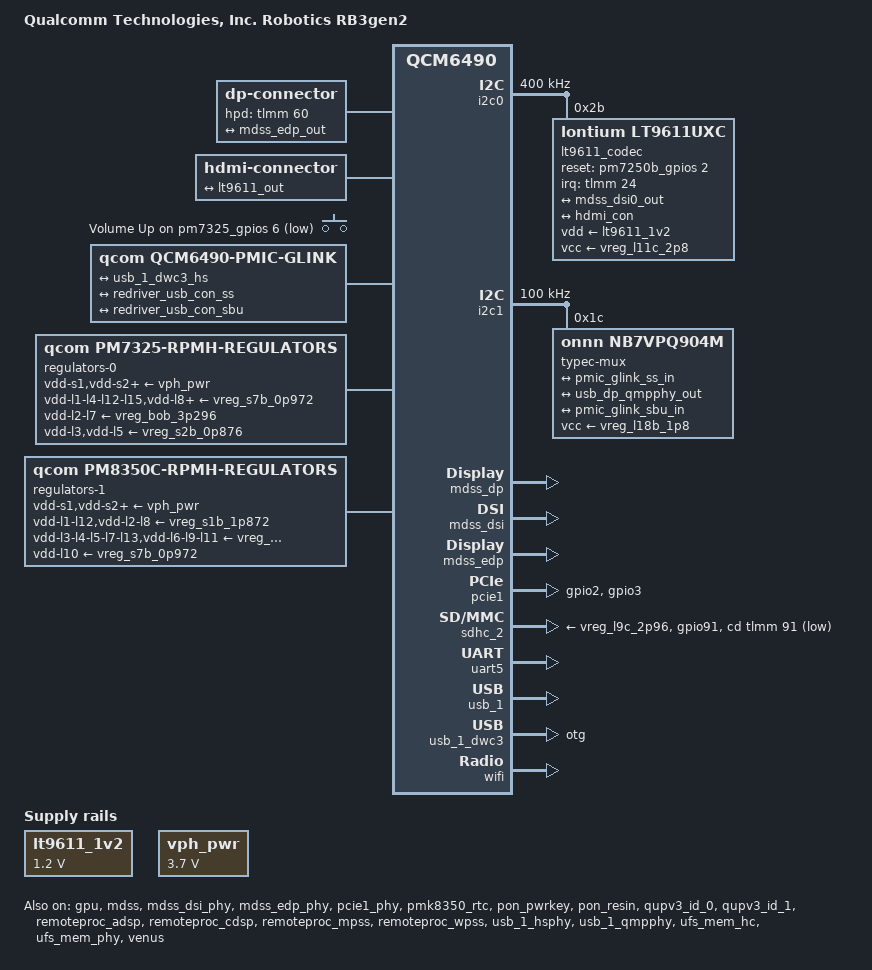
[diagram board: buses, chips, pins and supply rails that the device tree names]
// SPDX-License-Identifier: BSD-3-Clause
/*
 * Copyright (c) 2023 Qualcomm Innovation Center, Inc. All rights reserved.
 */

/dts-v1/;

/* PM7250B is configured to use SID8/9 */
#define PM7250B_SID 8
#define PM7250B_SID1 9

#include <dt-bindings/pinctrl/qcom,pmic-gpio.h>
#include <dt-bindings/regulator/qcom,rpmh-regulator.h>
#include "sc7280.dtsi"
#include "pm7250b.dtsi"
#include "pm7325.dtsi"
#include "pm8350c.dtsi"
#include "pmk8350.dtsi"

/delete-node/ &ipa_fw_mem;
/delete-node/ &rmtfs_mem;
/delete-node/ &adsp_mem;
/delete-node/ &cdsp_mem;
/delete-node/ &video_mem;
/delete-node/ &wlan_ce_mem;
/delete-node/ &wpss_mem;
/delete-node/ &xbl_mem;

/ {
	model = "Qualcomm Technologies, Inc. Robotics RB3gen2";
	compatible = "qcom,qcs6490-rb3gen2", "qcom,qcm6490";
	chassis-type = "embedded";

	aliases {
		serial0 = &uart5;
	};

	chosen {
		stdout-path = "serial0:115200n8";
	};

	dp-connector {
		compatible = "dp-connector";
		label = "DP";
		type = "mini";

		hpd-gpios = <&tlmm 60 GPIO_ACTIVE_HIGH>;

		port {
			dp_connector_in: endpoint {
				remote-endpoint = <&mdss_edp_out>;
			};
		};
	};

	hdmi-connector {
		compatible = "hdmi-connector";
		type = "a";

		port {
			hdmi_con: endpoint {
				remote-endpoint = <&lt9611_out>;
			};
		};
	};

	lt9611_1v2: lt9611-vdd12-regulator {
		compatible = "regulator-fixed";
		regulator-name = "LT9611_1V2";

		regulator-min-microvolt = <1200000>;
		regulator-max-microvolt = <1200000>;
	};

	reserved-memory {
		xbl_mem: xbl@80700000 {
			reg = <0x0 0x80700000 0x0 0x100000>;
			no-map;
		};

		cdsp_secure_heap_mem: cdsp-secure-heap@81800000 {
			reg = <0x0 0x81800000 0x0 0x1e00000>;
			no-map;
		};

		camera_mem: camera@84300000 {
			reg = <0x0 0x84300000 0x0 0x500000>;
			no-map;
		};

		wpss_mem: wpss@84800000 {
			reg = <0x0 0x84800000 0x0 0x1900000>;
			no-map;
		};

		adsp_mem: adsp@86100000 {
			reg = <0x0 0x86100000 0x0 0x2800000>;
			no-map;
		};

		cdsp_mem: cdsp@88900000 {
			reg = <0x0 0x88900000 0x0 0x1e00000>;
			no-map;
		};

		video_mem: video@8a700000 {
			reg = <0x0 0x8a700000 0x0 0x700000>;
			no-map;
		};

		cvp_mem: cvp@8ae00000 {
			reg = <0x0 0x8ae00000 0x0 0x500000>;
			no-map;
		};

		ipa_fw_mem: ipa-fw@8b300000 {
			reg = <0x0 0x8b300000 0x0 0x10000>;
			no-map;
		};

		ipa_gsi_mem: ipa-gsi@8b310000 {
			reg = <0x0 0x8b310000 0x0 0xa000>;
			no-map;
		};

		gpu_microcode_mem: gpu-microcode@8b31a000 {
			reg = <0x0 0x8b31a000 0x0 0x2000>;
			no-map;
		};

		tz_stat_mem: tz-stat@c0000000 {
			reg = <0x0 0xc0000000 0x0 0x100000>;
			no-map;
		};

		tags_mem: tags@c0100000 {
			reg = <0x0 0xc0100000 0x0 0x1200000>;
			no-map;
		};

		qtee_mem: qtee@c1300000 {
			reg = <0x0 0xc1300000 0x0 0x500000>;
			no-map;
		};

		trusted_apps_mem: trusted-apps@c1800000 {
			reg = <0x0 0xc1800000 0x0 0x1c00000>;
			no-map;
		};

		debug_vm_mem: debug-vm@d0600000 {
			reg = <0x0 0xd0600000 0x0 0x100000>;
			no-map;
		};
	};

	gpio-keys {
		compatible = "gpio-keys";

		pinctrl-0 = <&kypd_vol_up_n>;
		pinctrl-names = "default";

		key-volume-up {
			label = "Volume Up";
			gpios = <&pm7325_gpios 6 GPIO_ACTIVE_LOW>;
			linux,code = <KEY_VOLUMEUP>;
			linux,can-disable;
		};
	};

	pmic-glink {
		compatible = "qcom,qcm6490-pmic-glink", "qcom,pmic-glink";

		#address-cells = <1>;
		#size-cells = <0>;

		connector@0 {
			compatible = "usb-c-connector";
			reg = <0>;
			power-role = "dual";
			data-role = "dual";

			ports {
				#address-cells = <1>;
				#size-cells = <0>;

				port@0 {
					reg = <0>;

					pmic_glink_hs_in: endpoint {
						remote-endpoint = <&usb_1_dwc3_hs>;
					};
				};

				port@1 {
					reg = <1>;

					pmic_glink_ss_in: endpoint {
						remote-endpoint = <&redriver_usb_con_ss>;
					};
				};

				port@2 {
					reg = <2>;

					pmic_glink_sbu_in: endpoint {
						remote-endpoint = <&redriver_usb_con_sbu>;
					};
				};
			};
		};
	};

	vph_pwr: vph-pwr-regulator {
		compatible = "regulator-fixed";
		regulator-name = "vph_pwr";
		regulator-min-microvolt = <3700000>;
		regulator-max-microvolt = <3700000>;
	};
};

&apps_rsc {
	regulators-0 {
		compatible = "qcom,pm7325-rpmh-regulators";
		qcom,pmic-id = "b";

		vdd-s1-supply = <&vph_pwr>;
		vdd-s2-supply = <&vph_pwr>;
		vdd-s3-supply = <&vph_pwr>;
		vdd-s4-supply = <&vph_pwr>;
		vdd-s5-supply = <&vph_pwr>;
		vdd-s6-supply = <&vph_pwr>;
		vdd-s7-supply = <&vph_pwr>;
		vdd-s8-supply = <&vph_pwr>;
		vdd-l1-l4-l12-l15-supply = <&vreg_s7b_0p972>;
		vdd-l2-l7-supply = <&vreg_bob_3p296>;
		vdd-l3-supply = <&vreg_s2b_0p876>;
		vdd-l5-supply = <&vreg_s2b_0p876>;
		vdd-l6-l9-l10-supply = <&vreg_s8b_1p272>;
		vdd-l8-supply = <&vreg_s7b_0p972>;
		vdd-l11-l17-l18-l19-supply = <&vreg_s1b_1p872>;
		vdd-l13-supply = <&vreg_s7b_0p972>;
		vdd-l14-l16-supply = <&vreg_s8b_1p272>;

		vreg_s1b_1p872: smps1 {
			regulator-name = "vreg_s1b_1p872";
			regulator-min-microvolt = <1840000>;
			regulator-max-microvolt = <2040000>;
		};

		vreg_s2b_0p876: smps2 {
			regulator-name = "vreg_s2b_0p876";
			regulator-min-microvolt = <570070>;
			regulator-max-microvolt = <1050000>;
		};

		vreg_s7b_0p972: smps7 {
			regulator-name = "vreg_s7b_0p972";
			regulator-min-microvolt = <535000>;
			regulator-max-microvolt = <1120000>;
		};

		vreg_s8b_1p272: smps8 {
			regulator-name = "vreg_s8b_1p272";
			regulator-min-microvolt = <1200000>;
			regulator-max-microvolt = <1500000>;
			regulator-initial-mode = <RPMH_REGULATOR_MODE_RET>;
		};

		vreg_l1b_0p912: ldo1 {
			regulator-name = "vreg_l1b_0p912";
			regulator-min-microvolt = <825000>;
			regulator-max-microvolt = <925000>;
			regulator-initial-mode = <RPMH_REGULATOR_MODE_HPM>;
		};

		vreg_l2b_3p072: ldo2 {
			regulator-name = "vreg_l2b_3p072";
			regulator-min-microvolt = <2700000>;
			regulator-max-microvolt = <3544000>;
			regulator-initial-mode = <RPMH_REGULATOR_MODE_HPM>;
		};

		vreg_l3b_0p504: ldo3 {
			regulator-name = "vreg_l3b_0p504";
			regulator-min-microvolt = <312000>;
			regulator-max-microvolt = <910000>;
			regulator-initial-mode = <RPMH_REGULATOR_MODE_HPM>;
		};

		vreg_l4b_0p752: ldo4 {
			regulator-name = "vreg_l4b_0p752";
			regulator-min-microvolt = <752000>;
			regulator-max-microvolt = <820000>;
			regulator-initial-mode = <RPMH_REGULATOR_MODE_HPM>;
		};

		reg_l5b_0p752: ldo5 {
			regulator-name = "reg_l5b_0p752";
			regulator-min-microvolt = <552000>;
			regulator-max-microvolt = <832000>;
			regulator-initial-mode = <RPMH_REGULATOR_MODE_HPM>;
		};

		vreg_l6b_1p2: ldo6 {
			regulator-name = "vreg_l6b_1p2";
			regulator-min-microvolt = <1140000>;
			regulator-max-microvolt = <1260000>;
			regulator-initial-mode = <RPMH_REGULATOR_MODE_HPM>;
		};

		vreg_l7b_2p952: ldo7 {
			regulator-name = "vreg_l7b_2p952";
			regulator-min-microvolt = <2952000>;
			regulator-max-microvolt = <2952000>;
			regulator-initial-mode = <RPMH_REGULATOR_MODE_HPM>;
		};

		vreg_l8b_0p904: ldo8 {
			regulator-name = "vreg_l8b_0p904";
			regulator-min-microvolt = <870000>;
			regulator-max-microvolt = <970000>;
			regulator-initial-mode = <RPMH_REGULATOR_MODE_HPM>;
		};

		vreg_l9b_1p2: ldo9 {
			regulator-name = "vreg_l9b_1p2";
			regulator-min-microvolt = <1200000>;
			regulator-max-microvolt = <1200000>;
			regulator-initial-mode = <RPMH_REGULATOR_MODE_HPM>;
			regulator-allow-set-load;
			regulator-allowed-modes = <RPMH_REGULATOR_MODE_LPM
						   RPMH_REGULATOR_MODE_HPM>;
		};

		vreg_l11b_1p504: ldo11 {
			regulator-name = "vreg_l11b_1p504";
			regulator-min-microvolt = <1504000>;
			regulator-max-microvolt = <2000000>;
			regulator-initial-mode = <RPMH_REGULATOR_MODE_HPM>;
		};

		vreg_l12b_0p751: ldo12 {
			regulator-name = "vreg_l12b_0p751";
			regulator-min-microvolt = <751000>;
			regulator-max-microvolt = <824000>;
			regulator-initial-mode = <RPMH_REGULATOR_MODE_HPM>;
		};

		vreg_l13b_0p53: ldo13 {
			regulator-name = "vreg_l13b_0p53";
			regulator-min-microvolt = <530000>;
			regulator-max-microvolt = <824000>;
			regulator-initial-mode = <RPMH_REGULATOR_MODE_HPM>;
		};

		vreg_l14b_1p08: ldo14 {
			regulator-name = "vreg_l14b_1p08";
			regulator-min-microvolt = <1080000>;
			regulator-max-microvolt = <1304000>;
			regulator-initial-mode = <RPMH_REGULATOR_MODE_HPM>;
		};

		vreg_l15b_0p765: ldo15 {
			regulator-name = "vreg_l15b_0p765";
			regulator-min-microvolt = <765000>;
			regulator-max-microvolt = <1020000>;
			regulator-initial-mode = <RPMH_REGULATOR_MODE_HPM>;
		};

		vreg_l16b_1p1: ldo16 {
			regulator-name = "vreg_l16b_1p1";
			regulator-min-microvolt = <1100000>;
			regulator-max-microvolt = <1300000>;
			regulator-initial-mode = <RPMH_REGULATOR_MODE_HPM>;
		};

		vreg_l17b_1p7: ldo17 {
			regulator-name = "vreg_l17b_1p7";
			regulator-min-microvolt = <1700000>;
			regulator-max-microvolt = <1900000>;
			regulator-initial-mode = <RPMH_REGULATOR_MODE_HPM>;
		};

		vreg_l18b_1p8: ldo18 {
			regulator-name = "vreg_l18b_1p8";
			regulator-min-microvolt = <1800000>;
			regulator-max-microvolt = <2000000>;
			regulator-initial-mode = <RPMH_REGULATOR_MODE_HPM>;
		};

		vreg_l19b_1p8: ldo19 {
			regulator-name = "vreg_l19b_1p8";
			regulator-min-microvolt = <1800000>;
			regulator-max-microvolt = <2000000>;
			regulator-initial-mode = <RPMH_REGULATOR_MODE_HPM>;
		};
	};

	regulators-1 {
		compatible = "qcom,pm8350c-rpmh-regulators";
		qcom,pmic-id = "c";

		vdd-s1-supply = <&vph_pwr>;
		vdd-s2-supply = <&vph_pwr>;
		vdd-s3-supply = <&vph_pwr>;
		vdd-s4-supply = <&vph_pwr>;
		vdd-s5-supply = <&vph_pwr>;
		vdd-s6-supply = <&vph_pwr>;
		vdd-s7-supply = <&vph_pwr>;
		vdd-s8-supply = <&vph_pwr>;
		vdd-s9-supply = <&vph_pwr>;
		vdd-s10-supply = <&vph_pwr>;
		vdd-l1-l12-supply = <&vreg_s1b_1p872>;
		vdd-l2-l8-supply = <&vreg_s1b_1p872>;
		vdd-l3-l4-l5-l7-l13-supply = <&vreg_bob_3p296>;
		vdd-l6-l9-l11-supply = <&vreg_bob_3p296>;
		vdd-l10-supply = <&vreg_s7b_0p972>;
		vdd-bob-supply = <&vph_pwr>;

		vreg_s1c_2p19: smps1 {
			regulator-name = "vreg_s1c_2p19";
			regulator-min-microvolt = <2190000>;
			regulator-max-microvolt = <2210000>;
		};

		vreg_s2c_0p752: smps2 {
			regulator-name = "vreg_s2c_0p752";
			regulator-min-microvolt = <750000>;
			regulator-max-microvolt = <800000>;
		};

		vreg_s5c_0p752: smps5 {
			regulator-name = "vreg_s5c_0p752";
			regulator-min-microvolt = <465000>;
			regulator-max-microvolt = <1050000>;
		};

		vreg_s7c_0p752: smps7 {
			regulator-name = "vreg_s7c_0p752";
			regulator-min-microvolt = <465000>;
			regulator-max-microvolt = <800000>;
		};

		vreg_s9c_1p084: smps9 {
			regulator-name = "vreg_s9c_1p084";
			regulator-min-microvolt = <1010000>;
			regulator-max-microvolt = <1170000>;
		};

		vreg_l1c_1p8: ldo1 {
			regulator-name = "vreg_l1c_1p8";
			regulator-min-microvolt = <1800000>;
			regulator-max-microvolt = <1980000>;
			regulator-initial-mode = <RPMH_REGULATOR_MODE_HPM>;
		};

		vreg_l2c_1p62: ldo2 {
			regulator-name = "vreg_l2c_1p62";
			regulator-min-microvolt = <1620000>;
			regulator-max-microvolt = <1980000>;
			regulator-initial-mode = <RPMH_REGULATOR_MODE_HPM>;
		};

		vreg_l3c_2p8: ldo3 {
			regulator-name = "vreg_l3c_2p8";
			regulator-min-microvolt = <2800000>;
			regulator-max-microvolt = <3540000>;
			regulator-initial-mode = <RPMH_REGULATOR_MODE_HPM>;
		};

		vreg_l4c_1p62: ldo4 {
			regulator-name = "vreg_l4c_1p62";
			regulator-min-microvolt = <1620000>;
			regulator-max-microvolt = <3300000>;
			regulator-initial-mode = <RPMH_REGULATOR_MODE_HPM>;
		};

		vreg_l5c_1p62: ldo5 {
			regulator-name = "vreg_l5c_1p62";
			regulator-min-microvolt = <1620000>;
			regulator-max-microvolt = <3300000>;
			regulator-initial-mode = <RPMH_REGULATOR_MODE_HPM>;
		};

		vreg_l6c_2p96: ldo6 {
			regulator-name = "vreg_l6c_2p96";
			regulator-min-microvolt = <1650000>;
			regulator-max-microvolt = <3544000>;
			regulator-initial-mode = <RPMH_REGULATOR_MODE_HPM>;
		};

		vreg_l7c_3p0: ldo7 {
			regulator-name = "vreg_l7c_3p0";
			regulator-min-microvolt = <3000000>;
			regulator-max-microvolt = <3544000>;
			regulator-initial-mode = <RPMH_REGULATOR_MODE_HPM>;
		};

		vreg_l8c_1p62: ldo8 {
			regulator-name = "vreg_l8c_1p62";
			regulator-min-microvolt = <1620000>;
			regulator-max-microvolt = <2000000>;
			regulator-initial-mode = <RPMH_REGULATOR_MODE_HPM>;
		};

		vreg_l9c_2p96: ldo9 {
			regulator-name = "vreg_l9c_2p96";
			regulator-min-microvolt = <2700000>;
			regulator-max-microvolt = <35440000>;
			regulator-initial-mode = <RPMH_REGULATOR_MODE_HPM>;
		};

		vreg_l10c_0p88: ldo10 {
			regulator-name = "vreg_l10c_0p88";
			regulator-min-microvolt = <720000>;
			regulator-max-microvolt = <1050000>;
			regulator-initial-mode = <RPMH_REGULATOR_MODE_HPM>;
		};

		vreg_l11c_2p8: ldo11 {
			regulator-name = "vreg_l11c_2p8";
			regulator-min-microvolt = <2800000>;
			regulator-max-microvolt = <3544000>;
			regulator-initial-mode = <RPMH_REGULATOR_MODE_HPM>;
		};

		vreg_l12c_1p65: ldo12 {
			regulator-name = "vreg_l12c_1p65";
			regulator-min-microvolt = <1650000>;
			regulator-max-microvolt = <2000000>;
			regulator-initial-mode = <RPMH_REGULATOR_MODE_HPM>;
		};

		vreg_l13c_2p7: ldo13 {
			regulator-name = "vreg_l13c_2p7";
			regulator-min-microvolt = <2700000>;
			regulator-max-microvolt = <3544000>;
			regulator-initial-mode = <RPMH_REGULATOR_MODE_HPM>;
		};

		vreg_bob_3p296: bob {
			regulator-name = "vreg_bob_3p296";
			regulator-min-microvolt = <3008000>;
			regulator-max-microvolt = <3960000>;
		};
	};
};

&gcc {
	protected-clocks = <GCC_CFG_NOC_LPASS_CLK>,
			   <GCC_MSS_CFG_AHB_CLK>,
			   <GCC_MSS_GPLL0_MAIN_DIV_CLK_SRC>,
			   <GCC_MSS_OFFLINE_AXI_CLK>,
			   <GCC_MSS_Q6SS_BOOT_CLK_SRC>,
			   <GCC_MSS_Q6_MEMNOC_AXI_CLK>,
			   <GCC_MSS_SNOC_AXI_CLK>,
			   <GCC_QSPI_CNOC_PERIPH_AHB_CLK>,
			   <GCC_QSPI_CORE_CLK>,
			   <GCC_QSPI_CORE_CLK_SRC>,
			   <GCC_SEC_CTRL_CLK_SRC>,
			   <GCC_WPSS_AHB_BDG_MST_CLK>,
			   <GCC_WPSS_AHB_CLK>,
			   <GCC_WPSS_RSCP_CLK>;
};

&gpi_dma0 {
	status = "okay";
};

&gpi_dma1 {
	status = "okay";
};

&gpu {
	status = "okay";
};

&gpu_zap_shader {
	firmware-name = "qcom/qcs6490/a660_zap.mbn";
};

&i2c0 {
	clock-frequency = <400000>;
	status = "okay";

	lt9611_codec: hdmi-bridge@2b {
		compatible = "lontium,lt9611uxc";
		reg = <0x2b>;

		interrupts-extended = <&tlmm 24 IRQ_TYPE_EDGE_FALLING>;
		reset-gpios = <&pm7250b_gpios 2 GPIO_ACTIVE_HIGH>;

		vdd-supply = <&lt9611_1v2>;
		vcc-supply = <&vreg_l11c_2p8>;

		pinctrl-names = "default";
		pinctrl-0 = <&lt9611_irq_pin &lt9611_rst_pin>;

		ports {
			#address-cells = <1>;
			#size-cells = <0>;

			port@0 {
				reg = <0>;

				lt9611_a: endpoint {
					remote-endpoint = <&mdss_dsi0_out>;
				};
			};

			port@2 {
				reg = <2>;

				lt9611_out: endpoint {
					remote-endpoint = <&hdmi_con>;
				};
			};
		};
	};
};

&i2c1 {
	clock-frequency = <100000>;
	status = "okay";

	typec-mux@1c {
		compatible = "onnn,nb7vpq904m";
		reg = <0x1c>;

		vcc-supply = <&vreg_l18b_1p8>;

		retimer-switch;
		orientation-switch;

		ports {
			#address-cells = <1>;
			#size-cells = <0>;

			port@0 {
				reg = <0>;

				redriver_usb_con_ss: endpoint {
					remote-endpoint = <&pmic_glink_ss_in>;
				};
			};

			port@1 {
				reg = <1>;

				redriver_phy_con_ss: endpoint {
					remote-endpoint = <&usb_dp_qmpphy_out>;
					data-lanes = <0 1 2 3>;
				};
			};

			port@2 {
				reg = <2>;

				redriver_usb_con_sbu: endpoint {
					remote-endpoint = <&pmic_glink_sbu_in>;
				};
			};
		};
	};
};

&mdss {
	status = "okay";
};

&mdss_dp {
	status = "okay";
};

&mdss_dp_out {
	data-lanes = <0 1>;
	remote-endpoint = <&usb_dp_qmpphy_dp_in>;
};

&mdss_dsi {
	vdda-supply = <&vreg_l6b_1p2>;
	status = "okay";
};

&mdss_dsi0_out {
	remote-endpoint = <&lt9611_a>;
	data-lanes = <0 1 2 3>;
};

&mdss_dsi_phy {
	vdds-supply = <&vreg_l10c_0p88>;
	status = "okay";
};

&mdss_edp {
	status = "okay";
};

&mdss_edp_out {
	data-lanes = <0 1 2 3>;
	link-frequencies = /bits/ 64 <1620000000 2700000000 5400000000 8100000000>;

	remote-endpoint = <&dp_connector_in>;
};

&mdss_edp_phy {
	status = "okay";
};

&pcie1 {
	perst-gpios = <&tlmm 2 GPIO_ACTIVE_LOW>;

	pinctrl-0 = <&pcie1_reset_n>, <&pcie1_wake_n>;
	pinctrl-names = "default";

	iommu-map = <0x0 &apps_smmu 0x1c80 0x1>,
		    <0x100 &apps_smmu 0x1c81 0x1>,
		    <0x208 &apps_smmu 0x1c84 0x1>,
		    <0x210 &apps_smmu 0x1c85 0x1>,
		    <0x218 &apps_smmu 0x1c86 0x1>,
		    <0x300 &apps_smmu 0x1c87 0x1>,
		    <0x400 &apps_smmu 0x1c88 0x1>,
		    <0x500 &apps_smmu 0x1c89 0x1>,
		    <0x501 &apps_smmu 0x1c90 0x1>;

	status = "okay";
};

&pcie1_phy {
	vdda-phy-supply = <&vreg_l10c_0p88>;
	vdda-pll-supply = <&vreg_l6b_1p2>;

	status = "okay";
};

&pm7325_gpios {
	kypd_vol_up_n: kypd-vol-up-n-state {
		pins = "gpio6";
		function = PMIC_GPIO_FUNC_NORMAL;
		power-source = <1>;
		bias-pull-up;
		input-enable;
	};
};

&pmk8350_rtc {
	status = "okay";
};

&pon_pwrkey {
	status = "okay";
};

&pon_resin {
	linux,code = <KEY_VOLUMEDOWN>;

	status = "okay";
};

&qupv3_id_0 {
	status = "okay";
};

&qupv3_id_1 {
	status = "okay";
};

&remoteproc_adsp {
	firmware-name = "qcom/qcs6490/adsp.mbn";
	status = "okay";
};

&remoteproc_cdsp {
	firmware-name = "qcom/qcs6490/cdsp.mbn";
	status = "okay";
};

&remoteproc_mpss {
	firmware-name = "qcom/qcs6490/modem.mbn";
	status = "okay";
};

&remoteproc_wpss {
	firmware-name = "qcom/qcs6490/wpss.mbn";
	status = "okay";
};

&sdhc_2 {
	pinctrl-0 = <&sdc2_clk>, <&sdc2_cmd>, <&sdc2_data>, <&sd_cd>;
	pinctrl-1 = <&sdc2_clk_sleep>, <&sdc2_cmd_sleep>, <&sdc2_data_sleep>, <&sd_cd>;

	vmmc-supply = <&vreg_l9c_2p96>;
	vqmmc-supply = <&vreg_l6c_2p96>;

	cd-gpios = <&tlmm 91 GPIO_ACTIVE_LOW>;

	status = "okay";
};

&tlmm {
	gpio-reserved-ranges = <32 2>, /* ADSP */
			       <48 4>; /* NFC */
};

&uart5 {
	status = "okay";
};

&usb_1 {
	status = "okay";
};

&usb_1_dwc3 {
	dr_mode = "otg";
	usb-role-switch;
};

&usb_1_dwc3_hs {
	remote-endpoint = <&pmic_glink_hs_in>;
};

&usb_1_dwc3_ss {
	remote-endpoint = <&usb_dp_qmpphy_usb_ss_in>;
};

&usb_1_hsphy {
	vdda-pll-supply = <&vreg_l10c_0p88>;
	vdda33-supply = <&vreg_l2b_3p072>;
	vdda18-supply = <&vreg_l1c_1p8>;

	status = "okay";
};

&usb_1_qmpphy {
	vdda-phy-supply = <&vreg_l6b_1p2>;
	vdda-pll-supply = <&vreg_l1b_0p912>;

	orientation-switch;

	status = "okay";
};

&usb_dp_qmpphy_out {
	remote-endpoint = <&redriver_phy_con_ss>;
};

&usb_dp_qmpphy_usb_ss_in {
	remote-endpoint = <&usb_1_dwc3_ss>;
};

&usb_dp_qmpphy_dp_in {
	remote-endpoint = <&mdss_dp_out>;
};

&ufs_mem_hc {
	reset-gpios = <&tlmm 175 GPIO_ACTIVE_LOW>;
	vcc-supply = <&vreg_l7b_2p952>;
	vcc-max-microamp = <800000>;
	vccq-supply = <&vreg_l9b_1p2>;
	vccq-max-microamp = <900000>;
	vccq2-supply = <&vreg_l9b_1p2>;
	vccq2-max-microamp = <900000>;

	status = "okay";
};

&ufs_mem_phy {
	vdda-phy-supply = <&vreg_l10c_0p88>;
	vdda-pll-supply = <&vreg_l6b_1p2>;

	status = "okay";
};

&venus {
	status = "okay";
};

&wifi {
	memory-region = <&wlan_fw_mem>;
	qcom,ath11k-calibration-variant = "Qualcomm_rb3gen2";

	status = "okay";
};

/* PINCTRL - ADDITIONS TO NODES IN PARENT DEVICE TREE FILES */

&edp_hot_plug_det {
	function = "gpio";
	bias-disable;
};

&pm7250b_gpios {
	lt9611_rst_pin: lt9611-rst-state {
		pins = "gpio2";
		function = "normal";

		output-high;
		input-disable;
		power-source = <0>;
	};
};

&sdc2_clk {
	bias-disable;
	drive-strength = <16>;
};

&sdc2_cmd {
	bias-pull-up;
	drive-strength = <10>;
};

&sdc2_data {
	bias-pull-up;
	drive-strength = <10>;
};

&tlmm {
	lt9611_irq_pin: lt9611-irq-state {
		pins = "gpio24";
		function = "gpio";
		drive-strength = <2>;
		bias-disable;
	};

	pcie1_reset_n: pcie1-reset-n-state {
		pins = "gpio2";
		function = "gpio";
		drive-strength = <16>;
		output-low;
		bias-disable;
	};

	pcie1_wake_n: pcie1-wake-n-state {
		pins = "gpio3";
		function = "gpio";
		drive-strength = <2>;
		bias-pull-up;
	};

	sd_cd: sd-cd-state {
		pins = "gpio91";
		function = "gpio";
		bias-pull-up;
	};
};
